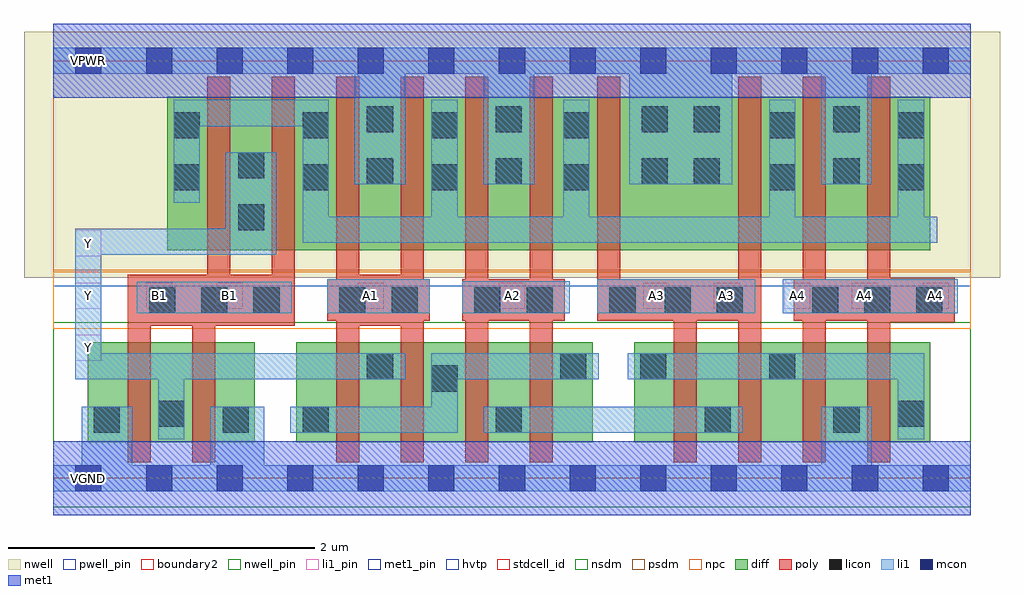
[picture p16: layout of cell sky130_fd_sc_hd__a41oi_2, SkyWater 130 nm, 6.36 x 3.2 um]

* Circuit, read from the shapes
.subckt sky130_fd_sc_hd__a41oi_2 A1 A2 A3 A4 B1 VGND VNB VPB VPWR Y
XM1 Y B1 VGND VNB sky130_fd_pr__nfet_01v8 w=0.65 l=0.15 m=2
XM2 Y A1 n1 VNB sky130_fd_pr__nfet_01v8 w=0.65 l=0.15 m=2
XM3 n2 A2 n1 VNB sky130_fd_pr__nfet_01v8 w=0.65 l=0.15 m=2
XM4 n2 A3 n3 VNB sky130_fd_pr__nfet_01v8 w=0.65 l=0.15 m=2
XM5 VGND A4 n3 VNB sky130_fd_pr__nfet_01v8 w=0.65 l=0.15 m=2
XM6 Y B1 n4 VPB sky130_fd_pr__pfet_01v8_hvt w=1 l=0.15 m=2
XM7 VPWR A1 n4 VPB sky130_fd_pr__pfet_01v8_hvt w=1 l=0.15 m=2
XM8 VPWR A2 n4 VPB sky130_fd_pr__pfet_01v8_hvt w=1 l=0.15 m=2
XM9 VPWR A3 n4 VPB sky130_fd_pr__pfet_01v8_hvt w=1 l=0.15 m=2
XM10 VPWR A4 n4 VPB sky130_fd_pr__pfet_01v8_hvt w=1 l=0.15 m=2
.ends

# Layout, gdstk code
import gdstk
lib = gdstk.Library(unit=1e-6, precision=1e-09)
def R(c, l, rs):  # rectangles x0, y0, x1, y1
    for r in rs: c.add(gdstk.rectangle(r[:2], r[2:], *l))
def A(c, l, x, y, w, h, nx, ny, dx, dy):  # array of equal rectangles
    R(c, l, [(x+i*dx, y+j*dy, x+i*dx+w, y+j*dy+h) for i in range(nx) for j in range(ny)])
def P(c, l, *ps):  # polygons
    for p in ps: c.add(gdstk.Polygon(p, *l))
nwell_pin = (64, 16)
nwell = (64, 20)
diff = (65, 20)
poly = (66, 20)
licon = (66, 44)
li1_pin = (67, 16)
li1 = (67, 20)
mcon = (67, 44)
met1_pin = (68, 16)
met1 = (68, 20)
hvtp = (78, 44)
stdcell_id = (81, 4)
nsdm = (93, 44)
psdm = (94, 20)
npc = (95, 20)
pwell_pin = (122, 16)
boundary2 = (236, 0)

sky130_fd_sc_hd__a41oi_2 = lib.new_cell('sky130_fd_sc_hd__a41oi_2')
R(sky130_fd_sc_hd__a41oi_2, nwell_pin, [(0.145,2.635,0.315,2.805)])
R(sky130_fd_sc_hd__a41oi_2, nwell, [(-0.19,1.305,6.17,2.91)])
R(sky130_fd_sc_hd__a41oi_2, diff, [(0.225,0.235,1.315,0.885), (1.585,0.235,3.515,0.885), (3.785,0.235,5.715,0.885), (0.745,1.485,5.715,2.485)])
R(sky130_fd_sc_hd__a41oi_2, poly, [(5.455,1.015,5.875,1.025), (5.455,1.295,5.875,1.305)])
P(sky130_fd_sc_hd__a41oi_2, poly, [(4.045,0.105),(4.045,1.025),(3.545,1.025),(3.545,2.615),(3.695,2.615),(3.695,1.295),(4.465,1.295),(4.465,2.615),(4.615,2.615),(4.615,0.105),(4.465,0.105),(4.465,1.025),(4.195,1.025),(4.195,0.105)],
  [(4.885,0.105),(4.885,1.025),(4.825,1.025),(4.825,1.295),(4.885,1.295),(4.885,2.615),(5.035,2.615),(5.035,1.295),(5.305,1.295),(5.305,2.615),(5.455,2.615),(5.455,1.295),(5.875,1.295),(5.875,1.025),(5.455,1.025),(5.455,0.105),(5.305,0.105),(5.305,1.025),(5.035,1.025),(5.035,0.105)],
  [(2.685,0.105),(2.685,1.025),(2.665,1.025),(2.665,1.295),(2.685,1.295),(2.685,2.615),(2.835,2.615),(2.835,1.295),(3.105,1.295),(3.105,2.615),(3.255,2.615),(3.255,1.295),(3.335,1.295),(3.335,1.025),(3.255,1.025),(3.255,0.105),(3.105,0.105),(3.105,1.025),(2.835,1.025),(2.835,0.105)],
  [(1.845,0.105),(1.845,1.025),(1.785,1.025),(1.785,1.295),(1.845,1.295),(1.845,2.615),(1.995,2.615),(1.995,1.325),(2.265,1.325),(2.265,2.615),(2.415,2.615),(2.415,1.295),(2.455,1.295),(2.455,1.025),(2.415,1.025),(2.415,0.105),(2.265,0.105),(2.265,0.995),(1.995,0.995),(1.995,0.105)],
  [(0.485,0.105),(0.485,1.325),(1.005,1.325),(1.005,2.615),(1.155,2.615),(1.155,1.325),(1.425,1.325),(1.425,2.615),(1.575,2.615),(1.575,0.995),(1.055,0.995),(1.055,0.105),(0.905,0.105),(0.905,0.995),(0.635,0.995),(0.635,0.105)])
A(sky130_fd_sc_hd__a41oi_2, licon, 0.625, 1.075, 0.17, 0.17, 3, 1, 0.34, 0)
A(sky130_fd_sc_hd__a41oi_2, licon, 4.945, 1.075, 0.17, 0.17, 3, 1, 0.34, 0)
A(sky130_fd_sc_hd__a41oi_2, licon, 0.785, 1.875, 0.17, 0.17, 3, 2, 0.84, 0.34)
R(sky130_fd_sc_hd__a41oi_2, licon, [(0.265,0.295,0.435,0.465), (1.105,0.295,1.275,0.465), (1.625,0.295,1.795,0.465), (2.885,0.295,3.055,0.465), (4.245,0.295,4.415,0.465), (5.085,0.295,5.255,0.465), (0.685,0.335,0.855,0.505), (5.505,0.335,5.675,0.505), (2.465,0.565,2.635,0.735), (2.045,0.645,2.215,0.815), (3.305,0.645,3.475,0.815), (3.825,0.645,3.995,0.815), (4.665,0.645,4.835,0.815), (1.865,1.075,2.035,1.245), (2.205,1.075,2.375,1.245), (2.745,1.075,2.915,1.245), (3.085,1.075,3.255,1.245), (3.625,1.075,3.795,1.245), (3.985,1.075,4.155,1.245), (4.325,1.075,4.495,1.245), (1.205,1.615,1.375,1.785), (3.325,1.875,3.495,2.045), (4.665,1.875,4.835,2.045), (5.505,1.875,5.675,2.045), (2.045,1.915,2.215,2.085), (2.885,1.915,3.055,2.085), (3.835,1.915,4.005,2.085), (4.175,1.915,4.345,2.085), (5.085,1.915,5.255,2.085), (1.205,1.955,1.375,2.125), (3.325,2.215,3.495,2.385), (4.665,2.215,4.835,2.385), (5.505,2.215,5.675,2.385), (2.045,2.255,2.215,2.425), (2.885,2.255,3.055,2.425), (3.835,2.255,4.005,2.425), (4.175,2.255,4.345,2.425), (5.085,2.255,5.255,2.425)])
A(sky130_fd_sc_hd__a41oi_2, li1_pin, 0.145, 1.105, 0.17, 0.17, 3, 1, 0.46, 0)
A(sky130_fd_sc_hd__a41oi_2, li1_pin, 3.845, 1.105, 0.17, 0.17, 3, 1, 0.46, 0)
R(sky130_fd_sc_hd__a41oi_2, li1_pin, [(0.145,0.765,0.315,0.935), (1.985,1.105,2.155,1.275), (2.905,1.105,3.075,1.275), (5.205,1.105,5.375,1.275), (5.665,1.105,5.835,1.275), (0.145,1.445,0.315,1.615)])
R(sky130_fd_sc_hd__a41oi_2, li1, [(2.805,0.295,4.495,0.465), (0.545,1.075,1.555,1.28), (1.785,1.075,2.455,1.295), (2.665,1.075,3.365,1.285), (3.545,1.075,4.575,1.295), (4.755,1.075,5.895,1.295)])
P(sky130_fd_sc_hd__a41oi_2, li1, [(1.625,1.535),(1.625,2.295),(0.955,2.295),(0.955,1.795),(0.785,1.795),(0.785,2.465),(1.795,2.465),(1.795,1.705),(2.465,1.705),(2.465,2.465),(2.635,2.465),(2.635,1.705),(3.325,1.705),(3.325,2.465),(3.495,2.465),(3.495,1.705),(4.665,1.705),(4.665,2.465),(4.835,2.465),(4.835,1.705),(5.505,1.705),(5.505,2.465),(5.675,2.465),(5.675,1.705),(5.76,1.705),(5.76,1.535)],
  [(5.505,0.255),(5.505,0.645),(3.745,0.645),(3.745,0.815),(5.675,0.815),(5.675,0.255)],
  [(1.545,0.295),(1.545,0.465),(2.465,0.465),(2.465,0.815),(3.555,0.815),(3.555,0.645),(2.635,0.645),(2.635,0.295)],
  [(0.685,0.255),(0.685,0.645),(0.145,0.645),(0.145,1.625),(1.125,1.625),(1.125,2.125),(1.455,2.125),(1.455,1.455),(0.315,1.455),(0.315,0.815),(2.295,0.815),(2.295,0.645),(0.855,0.645),(0.855,0.255)],
  [(0,-0.085),(0,0.085),(0.185,0.085),(0.185,0.465),(0.515,0.465),(0.515,0.085),(1.025,0.085),(1.025,0.465),(1.375,0.465),(1.375,0.085),(5.005,0.085),(5.005,0.465),(5.335,0.465),(5.335,0.085),(5.98,0.085),(5.98,-0.085)],
  [(1.965,1.915),(1.965,2.635),(0,2.635),(0,2.805),(5.98,2.805),(5.98,2.635),(5.335,2.635),(5.335,1.915),(5.005,1.915),(5.005,2.635),(4.425,2.635),(4.425,1.915),(3.755,1.915),(3.755,2.635),(3.135,2.635),(3.135,1.915),(2.805,1.915),(2.805,2.635),(2.295,2.635),(2.295,1.915)])
A(sky130_fd_sc_hd__a41oi_2, mcon, 0.145, -0.085, 0.17, 0.17, 13, 2, 0.46, 2.72)
R(sky130_fd_sc_hd__a41oi_2, met1_pin, [(0.145,-0.085,0.315,0.085), (0.145,2.635,0.315,2.805)])
R(sky130_fd_sc_hd__a41oi_2, hvtp, [(0,1.25,5.98,2.72)])
R(sky130_fd_sc_hd__a41oi_2, stdcell_id, [(0,0,5.98,2.72)])
R(sky130_fd_sc_hd__a41oi_2, nsdm, [(0,-0.19,5.98,1.015)])
R(sky130_fd_sc_hd__a41oi_2, psdm, [(0,1.355,5.98,2.91)])
R(sky130_fd_sc_hd__a41oi_2, npc, [(0,0.975,5.98,1.345)])
R(sky130_fd_sc_hd__a41oi_2, pwell_pin, [(0.145,-0.085,0.315,0.085)])
R(sky130_fd_sc_hd__a41oi_2, boundary2, [(0,0,5.98,2.72)])
sky130_fd_sc_hd__a41oi_2.add(gdstk.FlexPath([(0,0),(5.98,0)], 0.48, ends="flush", simple_path=True, layer=68, datatype=20))  # met1
sky130_fd_sc_hd__a41oi_2.add(gdstk.FlexPath([(0,2.72),(5.98,2.72)], 0.48, ends="flush", simple_path=True, layer=68, datatype=20))  # met1
sky130_fd_sc_hd__a41oi_2.add(gdstk.Label('VGND', (0.23,0), layer=68, texttype=5))
sky130_fd_sc_hd__a41oi_2.add(gdstk.Label('VPWR', (0.23,2.72), layer=68, texttype=5))
sky130_fd_sc_hd__a41oi_2.add(gdstk.Label('VPB', (0.23,2.72), layer=64, texttype=5))
sky130_fd_sc_hd__a41oi_2.add(gdstk.Label('VNB', (0.23,0), layer=64, texttype=59))
sky130_fd_sc_hd__a41oi_2.add(gdstk.Label('a41oi_2', (0,0), layer=83, texttype=44))
sky130_fd_sc_hd__a41oi_2.add(gdstk.Label('A1', (2.07,1.19), layer=67, texttype=5))
sky130_fd_sc_hd__a41oi_2.add(gdstk.Label('Y', (0.23,0.85), layer=67, texttype=5))
sky130_fd_sc_hd__a41oi_2.add(gdstk.Label('Y', (0.23,1.19), layer=67, texttype=5))
sky130_fd_sc_hd__a41oi_2.add(gdstk.Label('Y', (0.23,1.53), layer=67, texttype=5))
sky130_fd_sc_hd__a41oi_2.add(gdstk.Label('B1', (0.69,1.19), layer=67, texttype=5))
sky130_fd_sc_hd__a41oi_2.add(gdstk.Label('B1', (1.15,1.19), layer=67, texttype=5))
sky130_fd_sc_hd__a41oi_2.add(gdstk.Label('A2', (2.99,1.19), layer=67, texttype=5))
sky130_fd_sc_hd__a41oi_2.add(gdstk.Label('A3', (3.93,1.19), layer=67, texttype=5))
sky130_fd_sc_hd__a41oi_2.add(gdstk.Label('A3', (4.39,1.19), layer=67, texttype=5))
sky130_fd_sc_hd__a41oi_2.add(gdstk.Label('A4', (4.85,1.19), layer=67, texttype=5))
sky130_fd_sc_hd__a41oi_2.add(gdstk.Label('A4', (5.29,1.19), layer=67, texttype=5))
sky130_fd_sc_hd__a41oi_2.add(gdstk.Label('A4', (5.75,1.19), layer=67, texttype=5))

lib.write_gds('sky130_fd_sc_hd__a41oi_2.gds')
